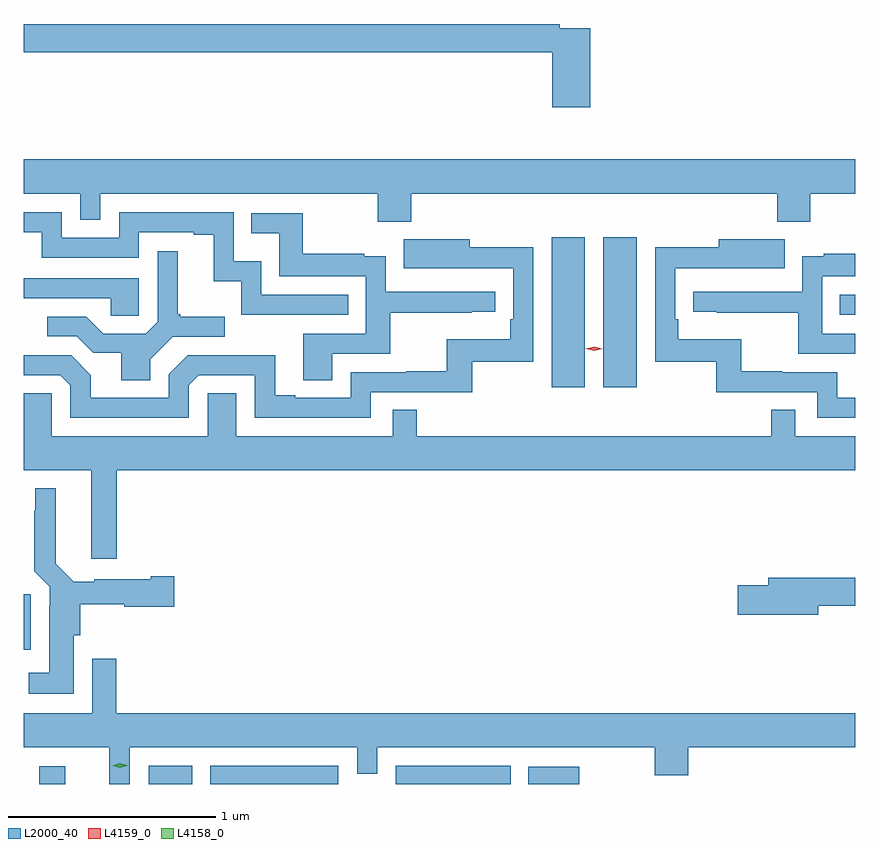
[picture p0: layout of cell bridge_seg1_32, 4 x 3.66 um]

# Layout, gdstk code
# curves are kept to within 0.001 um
import gdstk
lib = gdstk.Library(unit=1e-6, precision=1e-09)
def R(c, l, rs):  # rectangles x0, y0, x1, y1
    for r in rs: c.add(gdstk.rectangle(r[:2], r[2:], *l))
def P(c, l, *ps):  # polygons
    for p in ps: c.add(gdstk.Polygon(p, *l))
L2000_40 = (2000, 40)
L4158_0 = (4158, 0)
L4159_0 = (4159, 0)

bridge_seg1_32 = lib.new_cell('bridge_seg1_32')
R(bridge_seg1_32, L2000_40, [(1017.786,555.551,1017.91,555.637), (1018.314,555.551,1018.523,555.639), (1018.608,555.551,1019.226,555.639), (1019.502,555.551,1020.054,555.639), (1020.139,555.551,1020.385,555.633), (1017.712,556.197,1017.745,556.465), (1020.251,557.46,1020.412,558.181), (1020.5,557.46,1020.661,558.181), (1021.639,557.808,1021.712,557.904)])
P(bridge_seg1_32, L2000_40, [(1020.437,559.188),(1020.29,559.188),(1020.29,559.208),(1017.712,559.208),(1017.712,559.072),(1020.254,559.072),(1020.254,558.807),(1020.437,558.807)],
  [(1019.576,558.392),(1021.337,558.392),(1021.337,558.257),(1021.497,558.257),(1021.497,558.392),(1021.712,558.392),(1021.712,558.556),(1017.712,558.556),(1017.712,558.392),(1017.984,558.392),(1017.984,558.265),(1018.08,558.265),(1018.08,558.392),(1019.416,558.392),(1019.416,558.257),(1019.576,558.257)],
  [(1019.273,557.904),(1018.854,557.904),(1018.854,558.067),(1018.722,558.067),(1018.722,558.303),(1018.17,558.303),(1018.17,558.18),(1017.894,558.18),(1017.894,558.303),(1017.712,558.303),(1017.712,558.207),(1017.798,558.207),(1017.798,558.084),(1018.266,558.084),(1018.266,558.207),(1018.529,558.207),(1018.529,558.195),(1018.625,558.195),(1018.625,557.969),(1018.758,557.969),(1018.758,557.808),(1019.273,557.808)],
  [(1019.197,557.622),(1019.474,557.622),(1019.474,557.818),(1019.867,557.818),(1019.867,557.823),(1019.98,557.823),(1019.98,557.919),(1019.454,557.919),(1019.454,558.091),(1019.351,558.091),(1019.351,558.103),(1019.053,558.103),(1019.053,558.297),(1018.807,558.297),(1018.807,558.2),(1018.942,558.2),(1018.942,557.994),(1019.358,557.994),(1019.358,557.718),(1019.057,557.718),(1019.057,557.494),(1019.197,557.494)],
  [(1021.712,557.409),(1021.626,557.409),(1021.626,557.532),(1021.361,557.532),(1021.361,557.537),(1021.165,557.537),(1021.165,557.692),(1020.86,557.692),(1020.86,557.788),(1020.846,557.788),(1020.846,558.033),(1021.159,558.033),(1021.159,558.032),(1021.373,558.032),(1021.373,558.172),(1021.055,558.172),(1021.055,558.134),(1020.75,558.134),(1020.75,557.583),(1021.044,557.583),(1021.044,557.436),(1021.53,557.436),(1021.53,557.313),(1021.712,557.313)],
  [(1018.506,557.469),(1018.554,557.517),(1018.824,557.517),(1018.824,557.313),(1019.382,557.313),(1019.382,557.436),(1019.869,557.436),(1019.869,557.583),(1020.162,557.583),(1020.162,558.134),(1019.857,558.134),(1019.857,558.172),(1019.539,558.172),(1019.539,558.032),(1020.066,558.033),(1020.066,557.788),(1020.053,557.788),(1020.053,557.692),(1019.748,557.692),(1019.748,557.537),(1019.551,557.537),(1019.551,557.532),(1019.286,557.532),(1019.286,557.409),(1019.017,557.409),(1019.017,557.422),(1018.921,557.422),(1018.921,557.615),(1018.716,557.615),(1018.716,557.613),(1018.5,557.613),(1018.41,557.523),(1018.41,557.409),(1018.033,557.409),(1018.033,557.519),(1017.939,557.613),(1017.712,557.613),(1017.712,557.517),(1017.888,557.517),(1017.936,557.469),(1017.936,557.313),(1018.506,557.313)],
  [(1018.321,557.596),(1018.428,557.703),(1018.678,557.703),(1018.678,557.8),(1018.465,557.8),(1018.465,557.812),(1018.453,557.812),(1018.453,558.115),(1018.356,558.115),(1018.356,557.775),(1018.299,557.718),(1018.093,557.718),(1018.012,557.799),(1017.825,557.799),(1017.825,557.706),(1017.966,557.706),(1018.046,557.626),(1018.181,557.626),(1018.181,557.494),(1018.321,557.494)],
  [(1021.712,557.718),(1021.554,557.718),(1021.554,557.994),(1021.712,557.994),(1021.712,558.103),(1021.561,558.103),(1021.561,558.091),(1021.458,558.091),(1021.458,557.919),(1020.933,557.919),(1020.933,557.823),(1021.045,557.823),(1021.045,557.818),(1021.438,557.818),(1021.438,557.622),(1021.712,557.622)],
  [(1018.266,557.985),(1017.712,557.985),(1017.712,557.889),(1018.129,557.889),(1018.129,557.805),(1018.266,557.805)],
  [(1018.16,557.06),(1021.712,557.06),(1021.712,557.224),(1021.425,557.224),(1021.425,557.351),(1021.309,557.351),(1021.309,557.224),(1019.603,557.224),(1019.603,557.351),(1019.487,557.351),(1019.487,557.224),(1018.735,557.224),(1018.735,557.432),(1018.596,557.432),(1018.596,557.224),(1017.846,557.224),(1017.846,557.432),(1017.712,557.432),(1017.712,557.06),(1018.037,557.06),(1018.037,556.635),(1018.16,556.635)],
  [(1017.952,556.266),(1017.983,556.266),(1017.983,556.415),(1018.194,556.415),(1018.194,556.403),(1018.435,556.403),(1018.435,556.55),(1018.322,556.55),(1018.322,556.537),(1018.05,556.537),(1018.05,556.525),(1017.951,556.525),(1017.865,556.612),(1017.865,556.975),(1017.767,556.975),(1017.767,556.865),(1017.763,556.865),(1017.763,556.574),(1017.837,556.5),(1017.837,556.406),(1017.833,556.406),(1017.833,556.087),(1017.735,556.087),(1017.735,555.986),(1017.952,555.986)],
  [(1021.534,556.408),(1021.712,556.408),(1021.712,556.544),(1021.295,556.544),(1021.295,556.508),(1021.146,556.508),(1021.146,556.366),(1021.534,556.366)],
  [(1018.221,555.728),(1019.316,555.728),(1019.316,555.601),(1019.412,555.601),(1019.412,555.728),(1020.748,555.728),(1020.748,555.593),(1020.908,555.593),(1020.908,555.728),(1021.712,555.728),(1021.712,555.892),(1018.157,555.892),(1018.157,556.153),(1018.041,556.153),(1018.041,555.892),(1017.712,555.892),(1017.712,555.728),(1018.124,555.728),(1018.124,555.551),(1018.221,555.551)])
P(bridge_seg1_32, L4158_0, [(1018.174,555.63),(1018.139,555.639),(1018.138,555.639),(1018.139,555.639),(1018.174,555.65),(1018.209,555.641),(1018.209,555.641),(1018.209,555.64)])
P(bridge_seg1_32, L4159_0, [(1020.456,557.636),(1020.416,557.646),(1020.416,557.646),(1020.416,557.646),(1020.456,557.656),(1020.496,557.646),(1020.496,557.646),(1020.496,557.645)])

lib.write_gds('bridge_seg1_32.gds')
